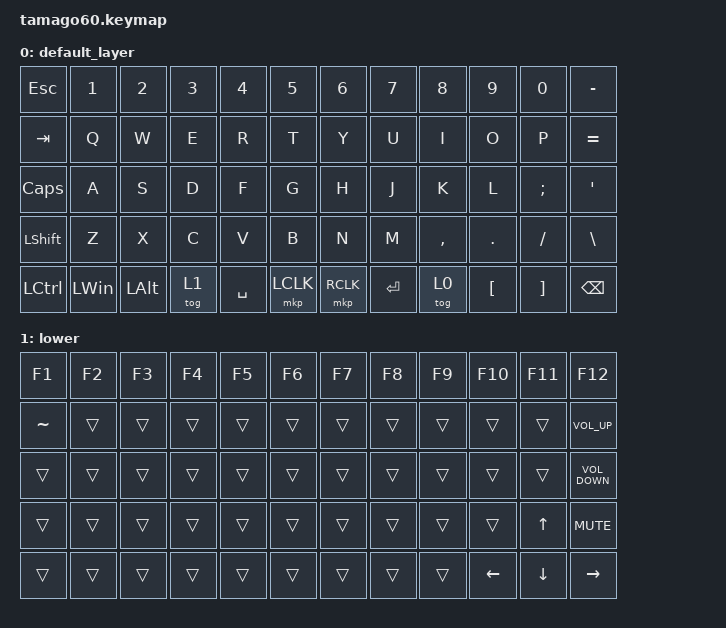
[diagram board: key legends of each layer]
/*
 * Copyright (c) 2020 The ZMK Contributors
 *
 * SPDX-License-Identifier: MIT
 */

#include <behaviors.dtsi>
#include <dt-bindings/zmk/keys.h>
#include <dt-bindings/zmk/pointing.h>

#define DEF 0 // default layer
#define LWR 1 // lower layer

/ {
    keymap {
        compatible = "zmk,keymap";

        default_layer {
            // ----------------------------------------------------------------------------------------------------------
            // |  ESC  |  1   |  2   |  3   |  4   |  5   |-------|-------|   6   |  7    |  8   |  9   |   0   |   -_  |
            // |  TAB  |  Q   |  W   |  E   |  R   |  T   |-------|-------|   Y   |  U    |  I   |  O   |   P   |   =+  |
            // |  CAPS |  A   |  S   |  D   |  F   |  G   |-------|-------|   H   |  J    |  K   |  L   |   ;   |   '"  |
            // | SHIFT |  Z   |  X   |  C   |  V   |  B   |-------|-------|   N   |  M    |  ,   |  .   |   /   |   \   |
            // | CTRL  |  WIN |  ALT |  FN  |   SPACE     |   M1  |   M2  |     ENTER     |  FN  |  [{  |  ]}   | BKSPC |

            bindings = <
            &kp ESC     &kp N1        &kp N2    &kp N3  &kp N4     &kp N5                        &kp N6  &kp N7     &kp N8     &kp N9            &kp N0             &kp MINUS
            &kp TAB     &kp Q         &kp W     &kp E   &kp R      &kp T                         &kp Y   &kp U      &kp I      &kp O             &kp P              &kp EQUAL
            &kp CAPS    &kp A         &kp S     &kp D   &kp F      &kp G                         &kp H   &kp J      &kp K      &kp L             &kp SEMI           &kp SQT
            &kp LSHIFT  &kp Z         &kp X     &kp C   &kp V      &kp B                         &kp N   &kp M      &kp COMMA  &kp DOT           &kp FSLH           &kp BACKSLASH
            &kp LCTRL   &kp LEFT_WIN  &kp LALT  &tog 1  &kp SPACE          &mkp LCLK  &mkp RCLK          &kp ENTER  &tog 0     &kp LEFT_BRACKET  &kp RIGHT_BRACKET  &kp BACKSPACE
            >;
        };

        lower {
            // ----------------------------------------------------------------------------------------------------------
            // |  ESC  |  F2  |  F3  |  F4  |  F5  |  F6  |-------|-------|   F7  |  F8   |  F9  | F10  |  F11  |  F12  |
            // |   ~   |  !   |  @   |  #   |  $   |  %   |-------|-------|   ^   |   &   |  *   |  (   |   )   |  DEL  |
            // |       |  F1  |  F2  |  F3  |  F4  |  F5  |-------|-------|   F6  |   _   |  +   |  {   |   }   |   |   |
            // |       |  F7  |  F8  |  F9  |  F10 |  F11 |-------|-------|   F12 | LS(#) |LS(|) |      |       |       |
            // |       |      |      |      |      |      |       |       |       | NEXT  | Vol- | Vol+ | PLAY  |       |

            bindings = <
            &kp F1     &kp F2  &kp F3  &kp F4  &kp F5  &kp F6                  &kp F7  &kp F8  &kp F9  &kp F10   &kp F11   &kp F12
            &kp TILDE  &trans  &trans  &trans  &trans  &trans                  &trans  &trans  &trans  &trans    &trans    &kp C_VOLUME_UP
            &trans     &trans  &trans  &trans  &trans  &trans                  &trans  &trans  &trans  &trans    &trans    &kp C_VOLUME_DOWN
            &trans     &trans  &trans  &trans  &trans  &trans                  &trans  &trans  &trans  &trans    &kp UP    &kp K_MUTE
            &trans     &trans  &trans  &trans  &trans          &trans  &trans          &trans  &trans  &kp LEFT  &kp DOWN  &kp RIGHT
            >;
        };
    };
};
